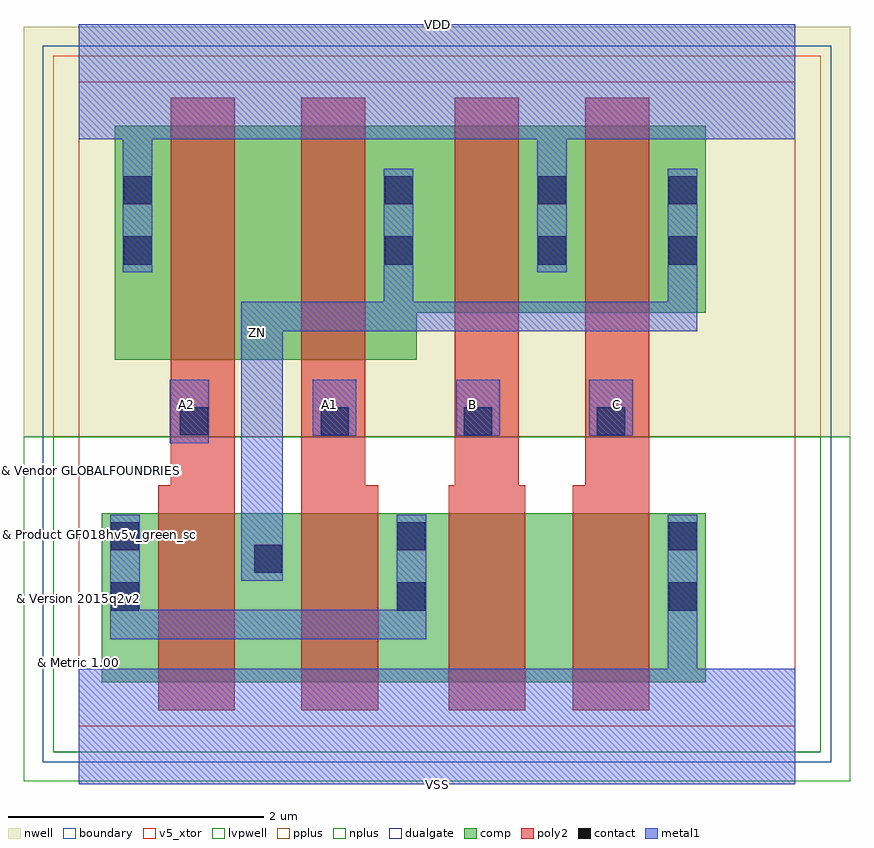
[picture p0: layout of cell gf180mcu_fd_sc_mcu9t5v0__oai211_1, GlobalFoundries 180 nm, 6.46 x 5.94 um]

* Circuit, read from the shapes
.subckt gf180mcu_fd_sc_mcu9t5v0__oai211_1 A1 A2 B C VDD VSS ZN
XM1 ZN A2 n1 VSUBS nfet_05v0 w=1.32u l=0.6u
XM2 n1 A1 ZN VSUBS nfet_05v0 w=1.32u l=0.6u
XM3 n2 B n1 VSUBS nfet_05v0 w=1.32u l=0.6u
XM4 VSS C n2 VSUBS nfet_05v0 w=1.32u l=0.6u
XM5 n3 A2 VDD n4 pfet_05v0 w=1.83u l=0.5u
XM6 ZN A1 n3 n4 pfet_05v0 w=1.83u l=0.5u
XM7 VDD B ZN n4 pfet_05v0 w=1.46u l=0.5u
XM8 ZN C VDD n4 pfet_05v0 w=1.46u l=0.5u
.ends

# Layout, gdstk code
import gdstk
lib = gdstk.Library(unit=1e-6, precision=1e-09)
def R(c, l, rs):  # rectangles x0, y0, x1, y1
    for r in rs: c.add(gdstk.rectangle(r[:2], r[2:], *l))
def P(c, l, *ps):  # polygons
    for p in ps: c.add(gdstk.Polygon(p, *l))
boundary = (0, 0)
nwell = (21, 0)
comp = (22, 0)
poly2 = (30, 0)
pplus = (31, 0)
nplus = (32, 0)
contact = (33, 0)
metal1 = (34, 0)
dualgate = (55, 0)
v5_xtor = (112, 1)
lvpwell = (204, 0)

gf180mcu_fd_sc_mcu9t5v0_ = lib.new_cell('gf180mcu_fd_sc_mcu9t5v0__oai211_1')
R(gf180mcu_fd_sc_mcu9t5v0_, boundary, [(0,0,5.6,5.04)])
R(gf180mcu_fd_sc_mcu9t5v0_, nwell, [(-0.43,2.265,6.03,5.47)])
R(gf180mcu_fd_sc_mcu9t5v0_, comp, [(0.18,0.345,4.9,1.665)])
P(gf180mcu_fd_sc_mcu9t5v0_, comp, [(0.28,2.865),(0.28,4.695),(4.9,4.695),(4.9,3.235),(2.64,3.235),(2.64,2.865)])
P(gf180mcu_fd_sc_mcu9t5v0_, poly2, [(0.62,0.125),(0.62,1.885),(0.72,1.885),(0.72,4.915),(1.22,4.915),(1.22,0.125)],
  [(1.74,0.125),(1.74,4.915),(2.24,4.915),(2.24,1.885),(2.34,1.885),(2.34,0.125)],
  [(2.89,0.125),(2.89,1.885),(2.94,1.885),(2.94,4.915),(3.44,4.915),(3.44,1.885),(3.49,1.885),(3.49,0.125)],
  [(3.86,0.125),(3.86,1.885),(3.96,1.885),(3.96,4.915),(4.46,4.915),(4.46,0.125)])
R(gf180mcu_fd_sc_mcu9t5v0_, pplus, [(-0.2,2.265,5.8,5.24)])
R(gf180mcu_fd_sc_mcu9t5v0_, nplus, [(-0.2,-0.2,5.8,2.265)])
R(gf180mcu_fd_sc_mcu9t5v0_, contact, [(0.25,0.905,0.47,1.125), (2.49,0.905,2.71,1.125), (4.61,0.905,4.83,1.125), (1.37,1.2,1.59,1.42), (0.25,1.375,0.47,1.595), (2.49,1.375,2.71,1.595), (4.61,1.375,4.83,1.595), (0.79,2.275,1.01,2.495), (1.89,2.275,2.11,2.495), (3.01,2.275,3.23,2.495), (4.05,2.275,4.27,2.495), (0.35,3.61,0.57,3.83), (2.39,3.61,2.61,3.83), (3.59,3.61,3.81,3.83), (4.61,3.61,4.83,3.83), (0.35,4.08,0.57,4.3), (2.39,4.08,2.61,4.3), (3.59,4.08,3.81,4.3), (4.61,4.08,4.83,4.3)])
R(gf180mcu_fd_sc_mcu9t5v0_, metal1, [(0.71,2.215,1.015,2.71), (1.83,2.27,2.17,2.71), (2.95,2.27,3.29,2.71), (3.99,2.27,4.33,2.71)])
P(gf180mcu_fd_sc_mcu9t5v0_, metal1, [(0.245,0.68),(0.245,1.655),(0.475,1.655),(0.475,0.91),(2.485,0.91),(2.485,1.655),(2.715,1.655),(2.715,0.68)],
  [(1.27,1.14),(1.27,3.32),(2.385,3.32),(2.385,4.36),(2.615,4.36),(2.615,3.32),(4.605,3.32),(4.605,4.36),(4.835,4.36),(4.835,3.09),(1.595,3.09),(1.595,1.14)],
  [(0,-0.45),(0,0.45),(4.605,0.45),(4.605,1.655),(4.835,1.655),(4.835,0.45),(5.6,0.45),(5.6,-0.45)],
  [(0.345,3.55),(0.345,4.59),(0,4.59),(0,5.49),(5.6,5.49),(5.6,4.59),(3.815,4.59),(3.815,3.55),(3.585,3.55),(3.585,4.59),(0.575,4.59),(0.575,3.55)])
R(gf180mcu_fd_sc_mcu9t5v0_, dualgate, [(-0.28,-0.28,5.88,5.32)])
R(gf180mcu_fd_sc_mcu9t5v0_, v5_xtor, [(0,0,5.6,5.04)])
R(gf180mcu_fd_sc_mcu9t5v0_, lvpwell, [(-0.43,-0.43,6.03,2.265)])
gf180mcu_fd_sc_mcu9t5v0_.add(gdstk.Label('A1', (1.96,2.52), layer=34, texttype=10))
gf180mcu_fd_sc_mcu9t5v0_.add(gdstk.Label('A2', (0.84,2.52), layer=34, texttype=10))
gf180mcu_fd_sc_mcu9t5v0_.add(gdstk.Label('B', (3.08,2.52), layer=34, texttype=10))
gf180mcu_fd_sc_mcu9t5v0_.add(gdstk.Label('C', (4.2,2.52), layer=34, texttype=10))
gf180mcu_fd_sc_mcu9t5v0_.add(gdstk.Label('VDD', (2.8,5.49), layer=34, texttype=10))
gf180mcu_fd_sc_mcu9t5v0_.add(gdstk.Label('VSS', (2.8,-0.45), layer=34, texttype=10))
gf180mcu_fd_sc_mcu9t5v0_.add(gdstk.Label('ZN', (1.4,3.08), layer=34, texttype=10))
gf180mcu_fd_sc_mcu9t5v0_.add(gdstk.Label('& Vendor GLOBALFOUNDRIES', (0,2), layer=63, texttype=63))
gf180mcu_fd_sc_mcu9t5v0_.add(gdstk.Label('& Product GF018hv5v_green_sc9', (0,1.5), layer=63, texttype=63))
gf180mcu_fd_sc_mcu9t5v0_.add(gdstk.Label('& Version 2015q2v2', (0,1), layer=63, texttype=63))
gf180mcu_fd_sc_mcu9t5v0_.add(gdstk.Label('& Metric 1.00', (0,0.5), layer=63, texttype=63))

lib.write_gds('gf180mcu_fd_sc_mcu9t5v0__oai211_1.gds')
